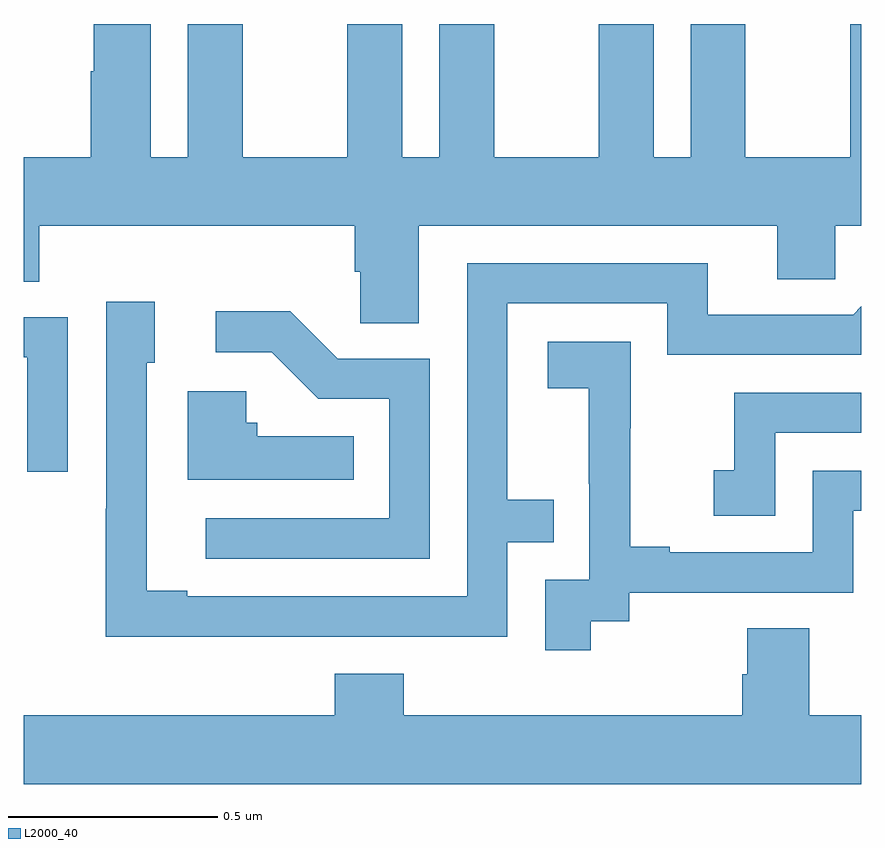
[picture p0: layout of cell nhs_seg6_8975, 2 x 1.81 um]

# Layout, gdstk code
import gdstk
lib = gdstk.Library(unit=1e-6, precision=1e-09)
def P(c, l, *ps):  # polygons
    for p in ps: c.add(gdstk.Polygon(p, *l))
L2000_40 = (2000, 40)

nhs_seg6_8975 = lib.new_cell('nhs_seg6_8975')
P(nhs_seg6_8975, L2000_40, [(228.943,934.016),(229.799,934.016),(229.799,933.889),(229.938,933.889),(229.938,934.016),(230,934.016),(230,934.498),(229.973,934.498),(229.973,934.18),(229.723,934.18),(229.723,934.498),(229.592,934.498),(229.592,934.18),(229.504,934.18),(229.504,934.498),(229.373,934.498),(229.373,934.18),(229.123,934.18),(229.123,934.498),(228.992,934.498),(228.992,934.18),(228.904,934.18),(228.904,934.498),(228.773,934.498),(228.773,934.18),(228.523,934.18),(228.523,934.498),(228.392,934.498),(228.392,934.18),(228.304,934.18),(228.304,934.498),(228.167,934.498),(228.167,934.385),(228.161,934.385),(228.161,934.18),(228,934.18),(228,933.883),(228.038,933.883),(228.038,934.016),(228.791,934.016),(228.791,933.907),(228.804,933.907),(228.804,933.784),(228.943,933.784)],
  [(228.659,933.036),(229.155,933.036),(229.155,933.261),(229.265,933.261),(229.265,933.362),(229.155,933.362),(229.155,933.831),(229.536,933.831),(229.536,933.708),(230,933.708),(230,933.824),(229.98,933.804),(229.633,933.804),(229.633,933.927),(229.059,933.927),(229.059,933.132),(228.391,933.132),(228.391,933.145),(228.294,933.145),(228.294,933.69),(228.313,933.69),(228.313,933.835),(228.198,933.835),(228.198,933.341),(228.196,933.341),(228.196,933.035),(228.659,933.035)],
  [(228.969,933.699),(228.75,933.699),(228.637,933.812),(228.459,933.812),(228.459,933.714),(228.593,933.714),(228.704,933.603),(228.873,933.603),(228.873,933.318),(228.435,933.318),(228.435,933.222),(228.969,933.222)],
  [(228.105,933.798),(228,933.798),(228,933.702),(228.009,933.702),(228.009,933.429),(228.105,933.429)],
  [(229.354,933.073),(229.446,933.073),(229.446,933.141),(229.98,933.141),(229.98,933.336),(230,933.336),(230,933.432),(229.884,933.432),(229.884,933.237),(229.543,933.237),(229.543,933.25),(229.448,933.25),(229.448,933.533),(229.449,933.533),(229.449,933.739),(229.251,933.739),(229.251,933.629),(229.349,933.629),(229.349,933.401),(229.35,933.401),(229.35,933.171),(229.245,933.171),(229.245,933.003),(229.354,933.003)],
  [(228.788,933.514),(228.558,933.514),(228.558,933.546),(228.531,933.546),(228.531,933.622),(228.392,933.622),(228.392,933.41),(228.788,933.41)],
  [(229.794,933.522),(230,933.522),(230,933.618),(229.696,933.618),(229.696,933.433),(229.647,933.433),(229.647,933.324),(229.794,933.324)],
  [(230,932.848),(229.875,932.848),(229.875,933.056),(229.727,933.056),(229.727,932.946),(229.715,932.946),(229.715,932.848),(228.908,932.848),(228.908,932.947),(228.743,932.947),(228.743,932.848),(228,932.848),(228,932.684),(230,932.684)])

lib.write_gds('nhs_seg6_8975.gds')
